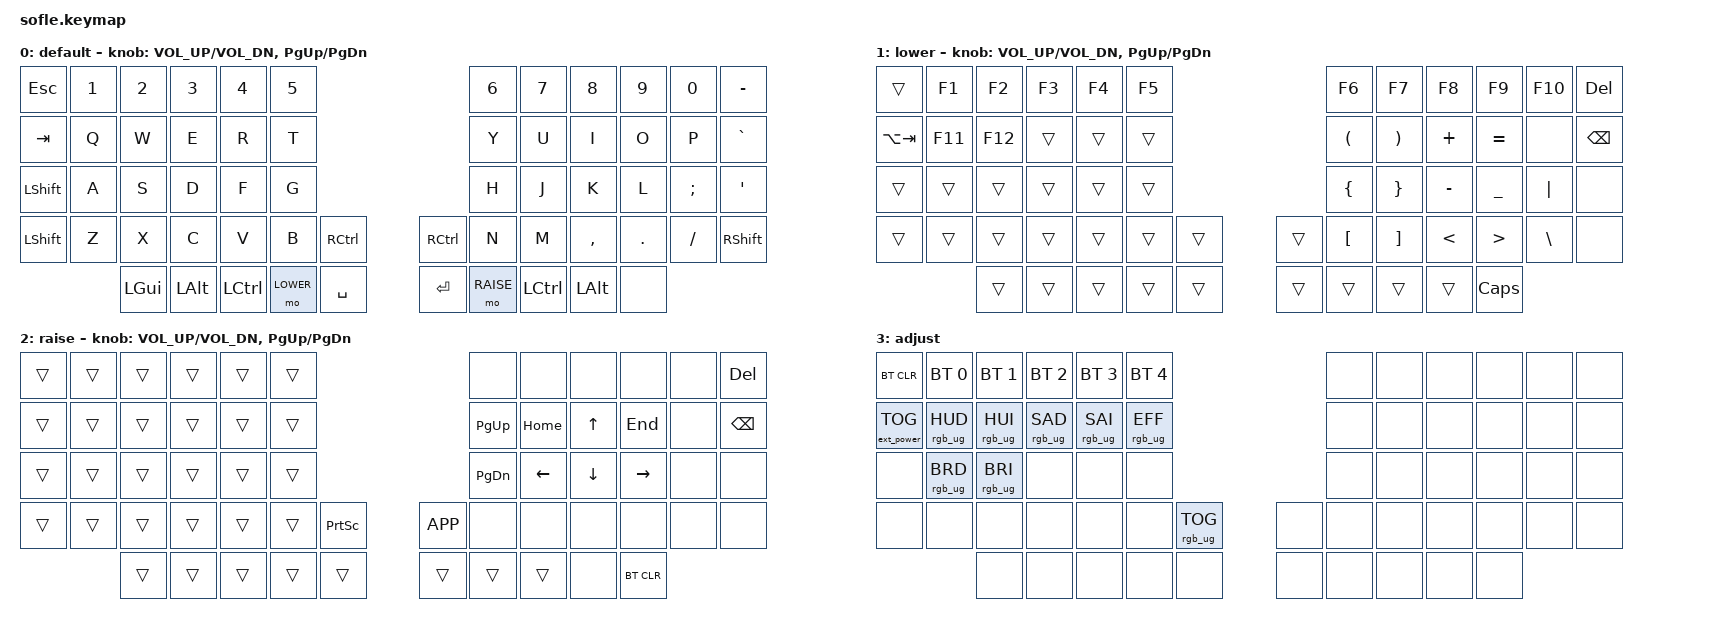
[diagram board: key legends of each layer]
/*
 * Copyright (c) 2020 The ZMK Contributors
 *
 * SPDX-License-Identifier: MIT
 */

#include <behaviors.dtsi>
#include <dt-bindings/zmk/bt.h>
#include <dt-bindings/zmk/ext_power.h>
#include <dt-bindings/zmk/keys.h>
#include <dt-bindings/zmk/rgb.h>

#define BASE 0
#define LOWER 1
#define RAISE 2
#define ADJUST 3

/ {
    // Activate ADJUST layer by pressing raise and lower

    conditional_layers {
        compatible = "zmk,conditional-layers";

        adjust_layer {
            if-layers = <LOWER RAISE>;
            then-layer = <ADJUST>;
        };
    };

    combos {
        compatible = "zmk,combos";

        switch_bluetooth_1 {
            bindings = <&bt BT_SEL 1>;
            key-positions = <2 59 56>;
        };

        switch_bluetooth_0 {
            bindings = <&bt BT_SEL 0>;
            key-positions = <1 59 56>;
        };

        switch_profile_2 {
            bindings = <&bt BT_SEL 2>;
            key-positions = <3 56 59>;
        };

        switch_bluetooth_3 {
            bindings = <&bt BT_SEL 3>;
            key-positions = <56 4 59>;
        };

        switch_bluetooth_4 {
            bindings = <&bt BT_SEL 4>;
            key-positions = <56 5 59>;
        };
    };

    keymap {
        compatible = "zmk,keymap";

        default_layer {
            display-name = "default";

            // ------------------------------------------------------------------------------------------------------------
            // |   `   |  1  |  2  |  3   |  4   |  5   |                   |  6   |  7    |  8    |  9   |   0   |       |
            // |  ESC  |  Q  |  W  |  E   |  R   |  T   |                   |  Y   |  U    |  I    |  O   |   P   | BKSPC |
            // |  TAB  |  A  |  S  |  D   |  F   |  G   |                   |  H   |  J    |  K    |  L   |   ;   |   '   |
            // | SHIFT |  Z  |  X  |  C   |  V   |  B   |  MUTE  |  |       |  N   |  M    |  ,    |  .   |   /   | SHIFT |
            //               | GUI | ALT  | CTRL | LOWER|  ENTER |  | SPACE | RAISE| CTRL  | ALT   | GUI  |

            bindings = <
&kp ESC         &kp N1  &kp N2    &kp N3    &kp N4     &kp N5                                             &kp N6     &kp N7            &kp N8        &kp N9   &kp N0    &kp MINUS
&kp TAB         &kp Q   &kp W     &kp E     &kp R      &kp T                                              &kp Y      &kp U             &kp I         &kp O    &kp P     &kp GRAVE
&kp LEFT_SHIFT  &kp A   &kp S     &kp D     &kp F      &kp G                                              &kp H      &kp J             &kp K         &kp L    &kp SEMI  &kp SQT
&kp LSHFT       &kp Z   &kp X     &kp C     &kp V      &kp B      &kp RIGHT_CONTROL    &kp RIGHT_CONTROL  &kp N      &kp M             &kp COMMA     &kp DOT  &kp FSLH  &kp RSHFT
                        &kp LGUI  &kp LALT  &kp LCTRL  &mo LOWER  &kp SPACE            &kp ENTER          &mo RAISE  &kp LEFT_CONTROL  &kp LEFT_ALT  &none
            >;

            sensor-bindings = <&inc_dec_kp C_VOL_UP C_VOL_DN &inc_dec_kp PG_UP PG_DN>;
        };

        lower_layer {
            display-name = "lower";

            // TODO: Some binds are waiting for shifted keycode support.
            // ------------------------------------------------------------------------------------------------------------
            // |       |  F1 |  F2 |  F3  |  F4  |  F5  |                   |  F6  |  F7   |  F8   |  F9  |  F10  |  F11  |
            // |   `   |  1  |  2  |  3   |  4   |  5   |                   |  6   |  7    |  8    |  9   |   0   |  F12  |
            // |       |  !  |  @  |  #   |  $   |  %   |                   |  ^   |  &    |  *    |  (   |   )   |   |   |
            // |       |  =  |  -  |  +   |  {   |  }   |        |  |       |  [   |  ]    |  ;    |  :   |   \   |       |
            //               |     |      |      |      |        |  |       |      |       |       |      |

            bindings = <
&trans       &kp F1   &kp F2   &kp F3  &kp F4  &kp F5                    &kp F6          &kp F7           &kp F8         &kp F9            &kp F10   &kp DELETE
&kp LA(TAB)  &kp F11  &kp F12  &trans  &trans  &trans                    &kp LPAR        &kp RPAR         &kp PLUS       &kp EQUAL         &none     &kp BACKSPACE
&trans       &trans   &trans   &trans  &trans  &trans                    &kp LEFT_BRACE  &kp RIGHT_BRACE  &kp MINUS      &kp UNDER         &kp PIPE  &none
&trans       &trans   &trans   &trans  &trans  &trans  &trans    &trans  &kp LBKT        &kp RBKT         &kp LESS_THAN  &kp GREATER_THAN  &kp BSLH  &none
                      &trans   &trans  &trans  &trans  &trans    &trans  &trans          &trans           &trans         &kp CAPSLOCK
            >;

            sensor-bindings = <&inc_dec_kp C_VOL_UP C_VOL_DN &inc_dec_kp PG_UP PG_DN>;
        };

        raise_layer {
            display-name = "raise";

            // ------------------------------------------------------------------------------------------------------------
            // | BTCLR | BT1  | BT2  |  BT3  |  BT4  |  BT5 |                |      |      |       |      |       |       |
            // |       | INS  | PSCR | GUI   |       |      |                | PGUP |      |   ^   |      |       |       |
            // |       | ALT  | CTRL | SHIFT |       | CAPS |                | PGDN |   <- |   v   |  ->  |  DEL  | BKSPC |
            // |       | UNDO | CUT  | COPY  | PASTE |      |      |  |      |      |      |       |      |       |       |
            //                |      |       |       |      |      |  |      |      |      |       |      |

            bindings = <
&trans  &trans  &trans  &trans  &trans  &trans                          &none      &none     &none     &none       &none  &kp DELETE
&trans  &trans  &trans  &trans  &trans  &trans                          &kp PG_UP  &kp HOME  &kp UP    &kp END     &none  &kp BACKSPACE
&trans  &trans  &trans  &trans  &trans  &trans                          &kp PG_DN  &kp LEFT  &kp DOWN  &kp RIGHT   &none  &none
&trans  &trans  &trans  &trans  &trans  &trans  &kp PSCRN    &kp K_APP  &none      &none     &none     &none       &none  &none
                &trans  &trans  &trans  &trans  &trans       &trans     &trans     &trans    &none     &bt BT_CLR
            >;

            sensor-bindings = <&inc_dec_kp C_VOL_UP C_VOL_DN &inc_dec_kp PG_UP PG_DN>;
        };

        adjust_layer {
            // ----------------------------------------------------------------------------------------------------------------------------
            // | BTCLR  |  BT1    |  BT2    |   BT3   |   BT4   |   BT5   |                  |      |      |       |      |       |       |
            // | EXTPWR | RGB_HUD | RGB_HUI | RGB_SAD | RGB_SAI | RGB_EFF |                  |      |      |       |      |       |       |
            // |        | RGB_BRD | RGB_BRI |         |         |         |                  |      |      |       |      |       |       |
            // |        |         |         |         |         |         | RGB_TOG | |      |      |      |       |      |       |       |
            //                    |         |         |         |         |         | |      |      |      |       |      |

            display-name = "adjust";
            bindings = <
&bt BT_CLR         &bt BT_SEL 0     &bt BT_SEL 1     &bt BT_SEL 2     &bt BT_SEL 3     &bt BT_SEL 4                               &none  &none  &none  &none  &none  &none
&ext_power EP_TOG  &rgb_ug RGB_HUD  &rgb_ug RGB_HUI  &rgb_ug RGB_SAD  &rgb_ug RGB_SAI  &rgb_ug RGB_EFF                            &none  &none  &none  &none  &none  &none
&none              &rgb_ug RGB_BRD  &rgb_ug RGB_BRI  &none            &none            &none                                      &none  &none  &none  &none  &none  &none
&none              &none            &none            &none            &none            &none            &rgb_ug RGB_TOG    &none  &none  &none  &none  &none  &none  &none
                                    &none            &none            &none            &none            &none              &none  &none  &none  &none  &none
            >;
        };
    };
};
